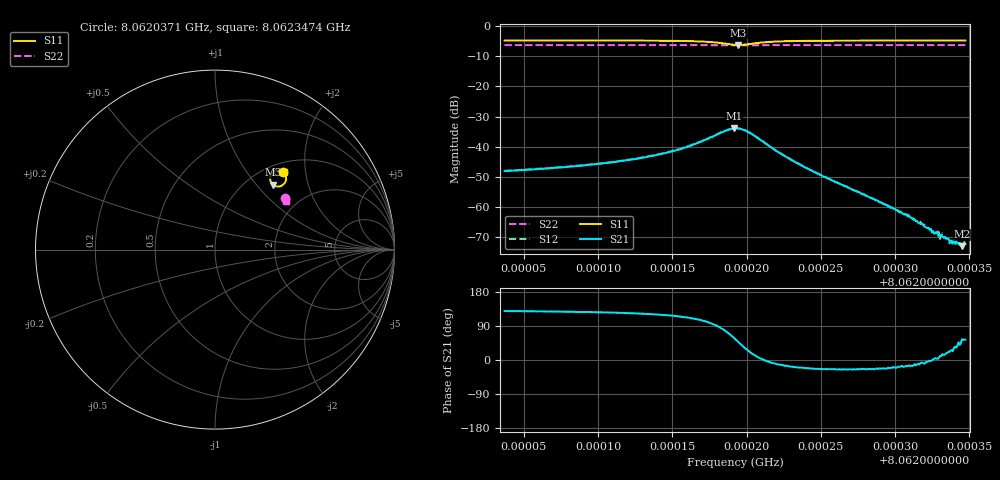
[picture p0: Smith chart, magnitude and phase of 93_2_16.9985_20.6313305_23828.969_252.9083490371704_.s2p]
#  HZ  S  RI  R  50.00
! Rohde & Schwarz Vector Network Analyzer
! Rohde-Schwarz,ZNB20-2Port,1311601062101988,3.16
! Created: UTC 3/20/2024, 10:56:13 PM
! freq[Hz]  re:S11  im:S11  re:S21  im:S21  re:S12  im:S12  re:S22  im:S22
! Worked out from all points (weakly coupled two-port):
!   401 points, 8.0620371 GHz to 8.0623474 GHz, reference 50 ohm
!   highest |S21| = -33.92 dB at 8.0621915 GHz (marker M1); lowest = -72.9 dB at 8.0623451 GHz (marker M2)
!   lowest |S11| = -6.3 dB at 8.0621946 GHz (marker M3), VSWR 2.88, Z = 64.8 + j61.4 ohm
!   |S11| at or under -10 dB: nowhere
!   |S22| runs from -6.4 to -6.3 dB; largest |S21 - S12| = 0.0015
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8.06203707e9  0.3792 0.4329  -0.00251 0.00306  -0.00233 0.00326  0.3873 0.2877
8.06208905e9  0.3848 0.4269  -0.00293 0.00389  -0.00269 0.00412  0.3891 0.2851
8.06212163e9  0.3894 0.4203  -0.00335 0.00509  -0.00309 0.00535  0.3902 0.2832
8.06214103e9  0.3928 0.4134  -0.00371 0.00649  -0.00335 0.00678  0.3908 0.2819
8.06215887e9  0.3958 0.4011  -0.00371 0.00904  -0.00321 0.00934  0.3915 0.2806
8.06217594e9  0.3909 0.3754  -0.00176 0.0143  -0.000921 0.0144  0.3913 0.2787
8.06218525e9  0.3686 0.3552  0.00377 0.0178  0.00494 0.0177  0.3903 0.2778
8.06219146e9  0.3381 0.3537  0.0105 0.0172  0.0118 0.0165  0.3892 0.2781
8.06219223e9  0.334 0.3551  0.0112 0.0166  0.0125 0.016  0.3891 0.278
8.06219456e9  0.3224 0.3623  0.0135 0.0147  0.0147 0.0139  0.3886 0.2783
8.06220077e9  0.307 0.3924  0.0161 0.00769  0.0166 0.00659  0.3888 0.2796
8.06221318e9  0.3246 0.4318  0.0112 -0.00047  0.0112 -0.00118  0.3905 0.2806
8.06222637e9  0.345 0.4405  0.00662 -0.00189  0.00659 -0.00224  0.3918 0.2801
8.06224421e9  0.3596 0.4402  0.00368 -0.00153  0.00364 -0.00175  0.3932 0.2789
8.06229619e9  0.3757 0.4343  0.000974 -0.000375  0.000927 -0.000427  0.3952 0.276
8.06230861e9  0.3776 0.4331  0.00068 -0.000196  0.000704 -0.000267  0.3957 0.2753
8.06232412e9  0.3798 0.4317  0.000436 -1.93e-05  0.000438 -4.35e-05  0.3963 0.2746
8.062328e9  0.3803 0.4315  0.00039 2.64e-05  0.000387 -3.49e-05  0.3963 0.2743
8.06233576e9  0.3812 0.4308  0.000285 0.000108  0.000258 7.6e-05  0.3966 0.2739
8.06233731e9  0.3813 0.4308  0.000246 0.000112  0.000272 8.3e-05  0.3967 0.274
8.06234507e9  0.3823 0.43  0.000131 0.000186  0.000169 0.000181  0.397 0.2735
8.0623474e9  0.3826 0.4299  0.000146 0.000199  0.000124 0.000212  0.3971 0.2732
